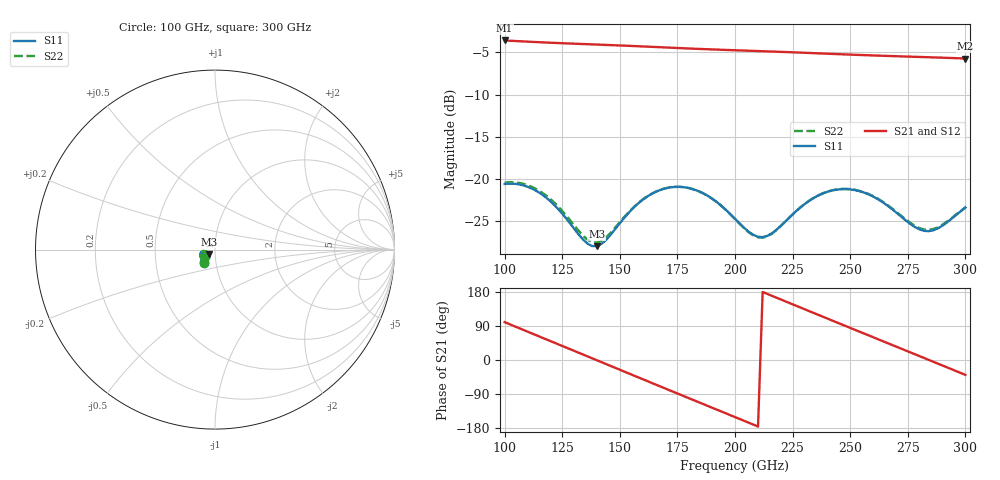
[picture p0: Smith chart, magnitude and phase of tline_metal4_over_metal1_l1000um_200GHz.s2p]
#  GHZ S DB R 50
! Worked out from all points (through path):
!   101 points, 100 GHz to 300 GHz, reference 50 ohm
!   highest |S21| = -3.58 dB at 100 GHz (marker M1); lowest = -5.7 dB at 300 GHz (marker M2)
!   group delay of S21, straight-line fit = 6.93 ps
!   lowest |S11| = -28.0 dB at 140 GHz (marker M3), VSWR 1.08, Z = 46.9 - j2.29 ohm
!   |S11| at or under -10 dB: start of sweep to end of sweep
!   |S22| runs from -27.6 to -20.4 dB; largest |S21 - S12| = 6.8e-14
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100  -20.61 -131.1  -3.58 99.9  -3.58 99.9  -20.45 -129.8
108  -20.76 -145.0  -3.70 79.8  -3.70 79.8  -20.58 -143.8
116  -21.81 -157.4  -3.80 59.7  -3.80 59.7  -21.59 -156.0
126  -24.44 -165.9  -3.92 34.6  -3.92 34.6  -24.12 -164.7
134  -27.19 -158.9  -4.01 14.5  -4.01 14.5  -26.73 -158.5
140  -27.98 -142.3  -4.07 -0.5  -4.07 -0.5  -27.56 -143.4
152  -24.60 -124.1  -4.20 -30.7  -4.20 -30.7  -24.50 -125.5
160  -22.46 -129.1  -4.29 -50.8  -4.29 -50.8  -22.42 -129.9
168  -21.27 -139.0  -4.39 -70.9  -4.39 -70.9  -21.26 -139.5
176  -20.95 -150.4  -4.49 -90.9  -4.49 -90.9  -20.94 -150.6
184  -21.44 -161.2  -4.58 -110.8  -4.58 -110.8  -21.44 -161.3
200  -24.73 -171.3  -4.74 -150.6  -4.74 -150.6  -24.77 -171.1
212  -26.90 -152.7  -4.86 179.4  -4.86 179.4  -26.97 -152.0
222  -25.01 -137.2  -4.96 154.5  -4.96 154.5  -25.02 -136.2
234  -22.29 -140.7  -5.08 124.5  -5.08 124.5  -22.27 -139.8
242  -21.39 -149.1  -5.17 104.6  -5.17 104.6  -21.36 -148.1
250  -21.25 -158.6  -5.26 84.8  -5.26 84.8  -21.21 -157.6
258  -21.84 -167.3  -5.34 65.0  -5.34 65.0  -21.79 -166.2
268  -23.55 -173.3  -5.43 40.2  -5.43 40.2  -23.47 -172.3
276  -25.33 -169.9  -5.50 20.4  -5.50 20.4  -25.20 -169.0
284  -26.20 -157.1  -5.57 0.5  -5.57 0.5  -26.05 -156.8
300  -23.40 -142.3  -5.72 -39.2  -5.72 -39.2  -23.38 -142.7
